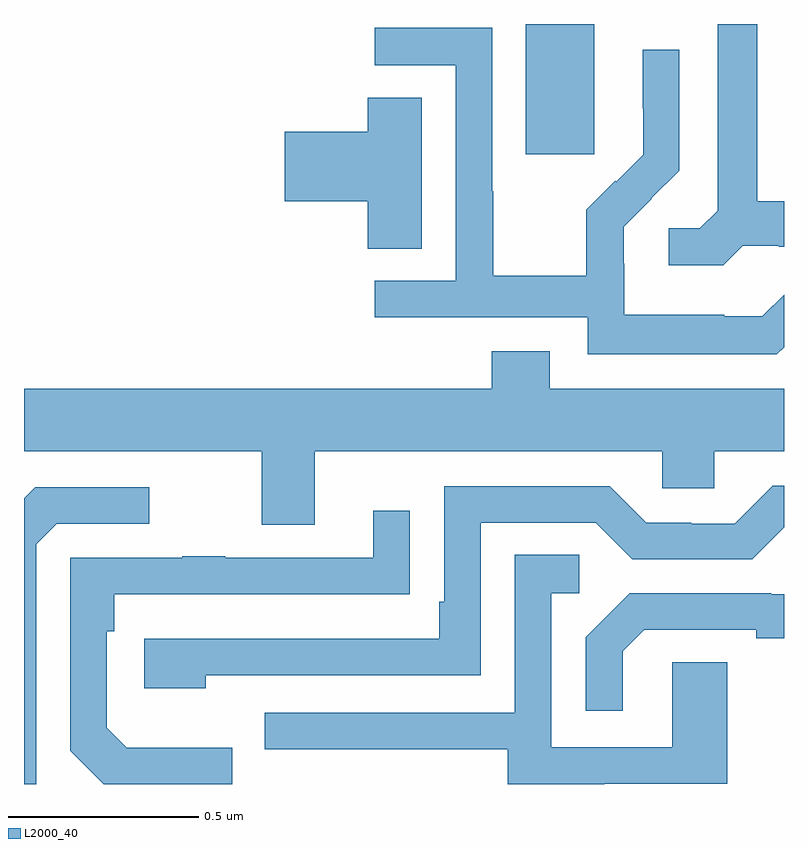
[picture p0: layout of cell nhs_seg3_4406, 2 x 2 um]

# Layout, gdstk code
import gdstk
lib = gdstk.Library(unit=1e-6, precision=1e-09)
def R(c, l, rs):  # rectangles x0, y0, x1, y1
    for r in rs: c.add(gdstk.rectangle(r[:2], r[2:], *l))
def P(c, l, *ps):  # polygons
    for p in ps: c.add(gdstk.Polygon(p, *l))
L2000_40 = (2000, 40)

nhs_seg3_4406 = lib.new_cell('nhs_seg3_4406')
R(nhs_seg3_4406, L2000_40, [(167.321,675.057,167.5,675.4)])
P(nhs_seg3_4406, L2000_40, [(167.892,674.817),(167.986,674.817),(167.986,674.814),(168,674.814),(168,674.933),(167.929,674.933),(167.929,675.4),(167.825,675.4),(167.825,674.909),(167.778,674.862),(167.697,674.862),(167.697,674.765),(167.84,674.765)],
  [(168,674.55),(168,674.688),(167.943,674.631),(167.843,674.631),(167.843,674.635),(167.58,674.635),(167.58,674.769),(167.578,674.769),(167.578,674.866),(167.652,674.94),(167.651,674.941),(167.724,675.014),(167.724,675.332),(167.628,675.332),(167.628,675.178),(167.63,675.178),(167.63,675.056),(167.559,674.985),(167.556,674.988),(167.479,674.911),(167.479,674.737),(167.235,674.737),(167.235,674.96),(167.232,674.96),(167.232,675.39),(166.923,675.39),(166.923,675.291),(167.136,675.291),(167.136,674.724),(166.923,674.724),(166.923,674.628),(167.484,674.628),(167.484,674.531),(167.981,674.531)],
  [(167.047,675.206),(166.904,675.206),(166.904,675.116),(166.686,675.116),(166.686,674.933),(166.904,674.933),(166.904,674.809),(167.047,674.809)],
  [(166.765,674.276),(167.679,674.276),(167.679,674.178),(167.817,674.178),(167.817,674.276),(168,674.276),(168,674.44),(167.383,674.44),(167.383,674.539),(167.231,674.539),(167.231,674.44),(166,674.44),(166,674.276),(166.625,674.276),(166.625,674.082),(166.765,674.082)],
  [(166.478,673.686),(167.202,673.686),(167.202,674.088),(167.505,674.088),(167.601,673.992),(167.916,673.992),(168,674.076),(168,674.185),(167.971,674.185),(167.871,674.085),(167.756,674.085),(167.756,674.088),(167.637,674.088),(167.541,674.184),(167.106,674.184),(167.106,673.879),(167.093,673.879),(167.093,673.782),(166.317,673.782),(166.317,673.652),(166.478,673.652)],
  [(166.032,674.031),(166.086,674.085),(166.33,674.085),(166.33,674.181),(166.029,674.181),(166,674.152),(166,673.4),(166.032,673.4)],
  [(166.548,673.495),(166.271,673.495),(166.218,673.548),(166.218,673.802),(166.238,673.802),(166.238,673.899),(166.913,673.899),(166.913,673.9),(167.015,673.9),(167.015,674.119),(166.919,674.119),(166.919,673.995),(166.529,673.995),(166.529,674),(166.417,674),(166.417,673.995),(166.122,673.995),(166.122,673.488),(166.21,673.4),(166.548,673.4)],
  [(167.527,673.401),(167.851,673.401),(167.851,673.721),(167.706,673.721),(167.706,673.497),(167.388,673.497),(167.388,673.902),(167.461,673.902),(167.461,674.003),(167.292,674.003),(167.292,673.587),(166.633,673.587),(166.633,673.491),(167.273,673.491),(167.273,673.4),(167.527,673.4)],
  [(167.575,673.749),(167.632,673.806),(167.927,673.806),(167.927,673.784),(168,673.784),(168,673.899),(167.966,673.899),(167.966,673.902),(167.594,673.902),(167.478,673.786),(167.478,673.593),(167.575,673.593)])

lib.write_gds('nhs_seg3_4406.gds')
